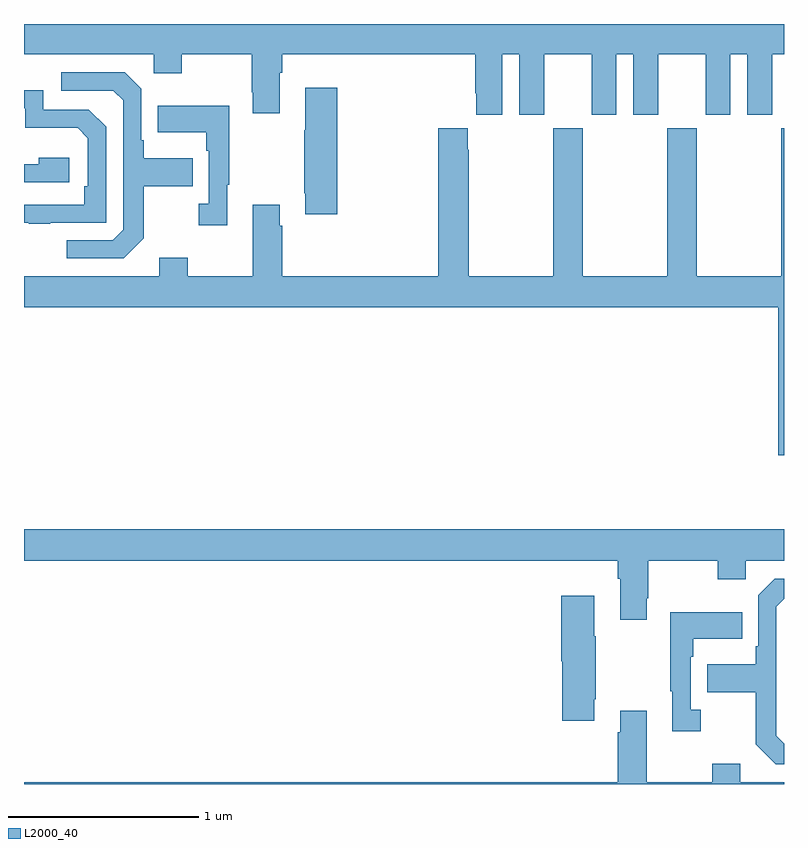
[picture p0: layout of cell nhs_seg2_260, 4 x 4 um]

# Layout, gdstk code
import gdstk
lib = gdstk.Library(unit=1e-6, precision=1e-09)
def P(c, l, *ps):  # polygons
    for p in ps: c.add(gdstk.Polygon(p, *l))
L2000_40 = (2000, 40)

nhs_seg2_260 = lib.new_cell('nhs_seg2_260')
P(nhs_seg2_260, L2000_40, [(125.518,643.64),(125.606,643.64),(125.606,643.323),(125.737,643.323),(125.737,643.64),(125.987,643.64),(125.987,643.323),(126.118,643.323),(126.118,643.64),(126.206,643.64),(126.206,643.323),(126.337,643.323),(126.337,643.64),(126.587,643.64),(126.587,643.323),(126.718,643.323),(126.718,643.64),(126.806,643.64),(126.806,643.323),(126.937,643.323),(126.937,643.64),(127,643.64),(127,643.8),(123,643.8),(123,643.64),(123.684,643.64),(123.684,643.541),(123.831,643.541),(123.831,643.64),(124.198,643.64),(124.198,643.441),(124.205,643.441),(124.205,643.329),(124.345,643.329),(124.345,643.544),(124.358,643.544),(124.358,643.64),(125.375,643.64),(125.375,643.435),(125.381,643.435),(125.381,643.323),(125.518,643.323)],
  [(123.631,642.673),(123.631,642.946),(123.887,642.946),(123.887,643.093),(123.631,643.093),(123.631,643.189),(123.618,643.189),(123.618,643.458),(123.531,643.545),(123.195,643.545),(123.195,643.449),(123.471,643.449),(123.522,643.398),(123.522,642.717),(123.468,642.663),(123.225,642.663),(123.225,642.567),(123.525,642.567)],
  [(124.649,643.465),(124.481,643.465),(124.481,643.241),(124.474,643.241),(124.474,642.91),(124.481,642.91),(124.481,642.798),(124.649,642.798)],
  [(123.137,642.753),(123.432,642.753),(123.432,643.26),(123.342,643.35),(123.102,643.35),(123.102,643.452),(123,643.452),(123,643.356),(123.006,643.356),(123.006,643.253),(123.283,643.253),(123.336,643.2),(123.336,642.946),(123.316,642.946),(123.316,642.849),(123,642.849),(123,642.753),(123.025,642.753),(123.025,642.748),(123.137,642.748)],
  [(124.069,642.953),(124.081,642.953),(124.081,643.369),(123.703,643.369),(123.703,643.229),(123.96,643.229),(123.96,643.133),(123.972,643.133),(123.972,642.854),(123.921,642.854),(123.921,642.741),(124.069,642.741)],
  [(127,643.252),(126.985,643.252),(126.985,642.472),(126.54,642.472),(126.54,643.252),(126.385,643.252),(126.385,642.472),(125.94,642.472),(125.94,643.252),(125.785,643.252),(125.785,642.472),(125.34,642.472),(125.34,643.139),(125.335,643.139),(125.335,643.252),(125.18,643.252),(125.18,642.472),(124.358,642.472),(124.358,642.737),(124.345,642.737),(124.345,642.85),(124.205,642.85),(124.205,642.472),(123.861,642.472),(123.861,642.571),(123.713,642.571),(123.713,642.472),(123,642.472),(123,642.308),(126.971,642.308),(126.971,641.529),(127,641.529)],
  [(123.238,643.096),(123.077,643.096),(123.077,643.062),(123,643.062),(123,642.966),(123.238,642.966)],
  [(126.277,640.777),(126.285,640.777),(126.285,640.976),(126.652,640.976),(126.652,640.877),(126.798,640.877),(126.798,640.976),(127,640.976),(127,641.14),(123,641.14),(123,640.976),(126.125,640.976),(126.125,640.88),(126.137,640.88),(126.137,640.665),(126.277,640.665)],
  [(127,640.013),(126.96,640.053),(126.96,640.734),(127,640.774),(127,640.881),(126.951,640.881),(126.864,640.794),(126.864,640.525),(126.852,640.525),(126.852,640.429),(126.595,640.429),(126.595,640.282),(126.852,640.282),(126.852,640.009),(126.957,639.903),(127,639.903)],
  [(126.001,640.246),(126.009,640.246),(126.009,640.577),(126.001,640.577),(126.001,640.792),(125.828,640.792),(125.828,640.446),(125.834,640.446),(125.834,640.134),(126.001,640.134)],
  [(126.562,640.19),(126.51,640.19),(126.51,640.469),(126.523,640.469),(126.523,640.565),(126.779,640.565),(126.779,640.705),(126.402,640.705),(126.402,640.289),(126.413,640.289),(126.413,640.077),(126.562,640.077)],
  [(127,639.808),(126.769,639.808),(126.769,639.907),(126.622,639.907),(126.622,639.808),(126.277,639.808),(126.277,640.186),(126.137,640.186),(126.137,640.073),(126.125,640.073),(126.125,639.808),(123,639.808),(123,639.8),(127,639.8)])

lib.write_gds('nhs_seg2_260.gds')
